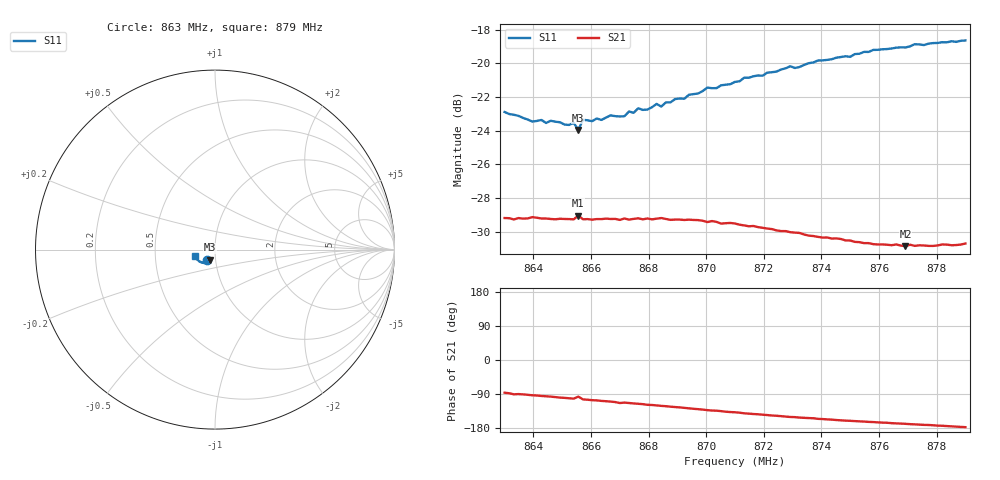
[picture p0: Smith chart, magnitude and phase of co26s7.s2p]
# HZ S RI R 50
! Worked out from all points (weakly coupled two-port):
!   101 points, 863 MHz to 879 MHz, reference 50 ohm
!   highest |S21| = -29.03 dB at 865.56 MHz (marker M1); lowest = -30.9 dB at 876.92 MHz (marker M2)
!   lowest |S11| = -24.0 dB at 865.56 MHz (marker M3), VSWR 1.14, Z = 46.9 - j5.3 ohm
!   |S11| at or under -10 dB: start of sweep to end of sweep
!   S12 and S22 are empty: the file has one direction only
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8.63e8  -0.0455 -0.0555  0.0022 -0.0347  0 0  0 0
8.6396e8  -0.0404 -0.0537  -0.0019 -0.0349  0 0  0 0
8.646e8  -0.0394 -0.0549  -0.00398 -0.0343  0 0  0 0
8.6524e8  -0.0364 -0.0547  -0.00658 -0.0339  0 0  0 0
8.654e8  -0.0359 -0.0561  -0.00713 -0.0337  0 0  0 0
8.6556e8  -0.0292 -0.0563  -0.00412 -0.0351  0 0  0 0
8.6572e8  -0.0354 -0.0581  -0.00829 -0.0334  0 0  0 0
8.6604e8  -0.0354 -0.0573  -0.0095 -0.033  0 0  0 0
8.6716e8  -0.0347 -0.0604  -0.0132 -0.032  0 0  0 0
8.6764e8  -0.036 -0.0642  -0.0149 -0.0313  0 0  0 0
8.6796e8  -0.0354 -0.0638  -0.0164 -0.0305  0 0  0 0
8.6828e8  -0.0365 -0.0664  -0.0172 -0.03  0 0  0 0
8.6844e8  -0.0359 -0.0652  -0.0179 -0.0298  0 0  0 0
8.686e8  -0.0371 -0.067  -0.0183 -0.0293  0 0  0 0
8.6924e8  -0.0392 -0.0681  -0.0203 -0.0276  0 0  0 0
8.7004e8  -0.0446 -0.0722  -0.0227 -0.025  0 0  0 0
8.7036e8  -0.0444 -0.0719  -0.0234 -0.0244  0 0  0 0
8.71e8  -0.0483 -0.0738  -0.0248 -0.0224  0 0  0 0
8.7372e8  -0.0685 -0.0737  -0.0275 -0.0136  0 0  0 0
8.7644e8  -0.0921 -0.0615  -0.0281 -0.00666  0 0  0 0
8.7692e8  -0.096 -0.0568  -0.0281 -0.00574  0 0  0 0
8.79e8  -0.1106 -0.0381  -0.0292 -0.00141  0 0  0 0
